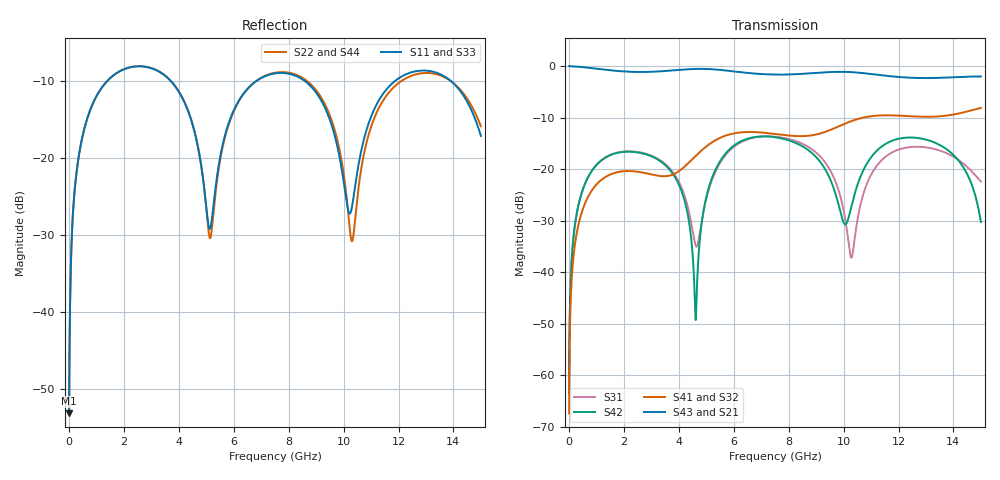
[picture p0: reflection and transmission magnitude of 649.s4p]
! Created with skrf 1.8.0 (http://scikit-rf.org).
# GHz S RI R 50.0
!freq ReS11 ImS11 ReS12 ImS12 ReS13 ImS13
! ReS14 ImS14
! ReS21 ImS21 ReS22 ImS22 ReS23 ImS23
! ReS24 ImS24
! ReS31 ImS31 ReS32 ImS32 ReS33 ImS33
! ReS34 ImS34
! ReS41 ImS41 ReS42 ImS42 ReS43 ImS43
! ReS44 ImS44
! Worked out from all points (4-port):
!   2499 points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, 5 MHz to 15 GHz, reference 50 ohm
!   strongest paths, dB at 5 MHz, 3.476 GHz, 7.19 GHz, 11.1 GHz, 15 GHz:
!     S43: 0.0, -1.0, -1.6, -1.6, -2.0
!     S21: 0.0, -1.0, -1.6, -1.6, -2.0
!     S41: -67.3, -21.4, -13.0, -9.7, -8.1
!     S32: -67.3, -21.4, -13.0, -9.7, -8.1
!     S42: -63.5, -19.1, -13.6, -17.0, -30.2
!     S31: -63.5, -18.9, -13.6, -20.2, -22.4
!   lowest |S11| = -53.2 dB at 5 MHz (marker M1), VSWR 1.00, Z = 50.2 + j0.134 ohm
!   |S11| at or under -10 dB: start of sweep to 1.383 GHz; 3.715 GHz to 6.808 GHz (3.093 GHz wide, 58.8 % of centre); 8.601 GHz to 11.86 GHz (3.257 GHz wide, 31.8 % of centre) (the widest 3 of 4)
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0.005  0.00175 0.00133  0.9982 -0.0034  8.71e-05 0.000664  -8.48e-05 -0.000421
       0.9982 -0.0034  0.00175 0.00133  -8.48e-05 -0.000421  8.71e-05 0.000664
       8.71e-05 0.000664  -8.48e-05 -0.000421  0.00175 0.00133  0.9982 -0.0034
       -8.48e-05 -0.000421  8.71e-05 0.000664  0.9982 -0.0034  0.00175 0.00133
0.3626511  0.0336 0.0992  0.9536 -0.2427  0.0156 0.0444  -0.0129 -0.0275
           0.9536 -0.2427  0.0337 0.0992  -0.0129 -0.0275  0.0154 0.0445
           0.0156 0.0444  -0.0129 -0.0275  0.0336 0.0992  0.9536 -0.2426
           -0.0129 -0.0275  0.0154 0.0445  0.9536 -0.2426  0.0337 0.0992
1.619545  0.3041 0.1643  0.473 -0.7706  0.1339 0.0456  -0.0911 0.00591
          0.473 -0.7706  0.3048 0.1637  -0.091 0.00572  0.1318 0.049
          0.1339 0.0456  -0.091 0.00572  0.3041 0.1642  0.4731 -0.7706
          -0.0911 0.00591  0.1318 0.049  0.4731 -0.7706  0.3047 0.1638
4.60817  0.0719 -0.1195  -0.8625 -0.3695  -0.0165 -0.00793  -0.0478 0.1252
         -0.8625 -0.3695  0.0687 -0.1232  -0.0496 0.1245  -0.00322 -0.00142
         -0.0165 -0.00793  -0.0496 0.1245  0.0715 -0.1194  -0.8626 -0.3695
         -0.0478 0.1252  -0.00322 -0.00142  -0.8626 -0.3695  0.0689 -0.1228
7.890788  0.3556 -0.0316  -0.0308 0.8275  0.1802 -0.0863  0.2004 -0.0743
          -0.0308 0.8275  0.3603 -0.0337  0.1998 -0.0692  0.1818 -0.069
          0.1802 -0.0863  0.1998 -0.0692  0.3565 -0.0345  -0.0311 0.8275
          0.2004 -0.0743  0.1818 -0.069  -0.0311 0.8275  0.3592 -0.0305
10.64193  0.0678 0.0886  0.8564 -0.0628  0.0209 0.0437  -0.0433 -0.3101
          0.8564 -0.0628  0.0459 0.0717  -0.0326 -0.3116  0.0761 0.0442
          0.0209 0.0437  -0.0326 -0.3116  0.0609 0.0899  0.8565 -0.062
          -0.0433 -0.3101  0.0761 0.0442  0.8565 -0.062  0.0518 0.0709
15  0.104 -0.0933  -0.6794 -0.4081  -0.0714 -0.026  -0.1871 0.3457
    -0.6794 -0.4081  0.1239 -0.1036  -0.2036 0.3364  -0.0245 -0.0186
    -0.0714 -0.026  -0.2036 0.3364  0.0954 -0.0925  -0.6795 -0.4088
    -0.1871 0.3457  -0.0245 -0.0186  -0.6795 -0.4088  0.1278 -0.0973
